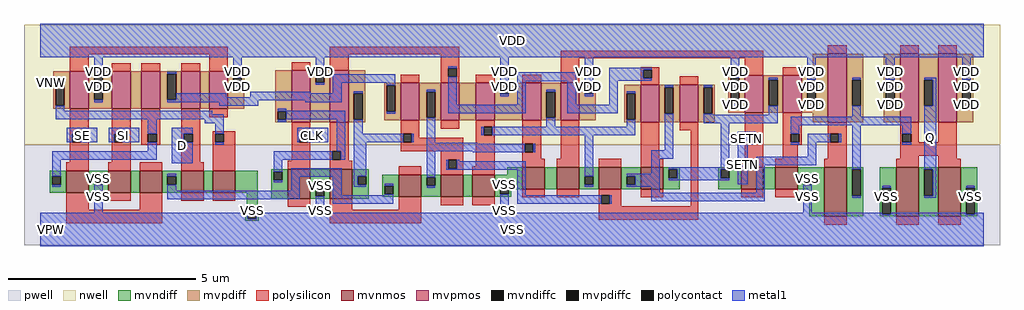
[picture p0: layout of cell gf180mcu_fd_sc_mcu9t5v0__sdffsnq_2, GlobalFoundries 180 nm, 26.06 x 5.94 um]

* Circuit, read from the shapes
.subckt gf180mcu_fd_sc_mcu9t5v0__sdffsnq_2 D SE SETN SI CLK Q VDD VNW VPW VSS
XM1 VSS SE n1 VPW nfet_06v0 w=0.59u l=0.6u
XM2 n2 SI VSS VPW nfet_06v0 w=0.59u l=0.6u
XM3 n3 SE n2 VPW nfet_06v0 w=0.59u l=0.6u
XM4 n4 D n3 VPW nfet_06v0 w=0.59u l=0.6u
XM5 VSS n1 n4 VPW nfet_06v0 w=0.59u l=0.6u
XM6 VSS CLK n5 VPW nfet_06v0 w=0.79u l=0.6u
XM7 n6 n5 VSS VPW nfet_06v0 w=0.79u l=0.6u
XM8 n7 n5 n3 VPW nfet_06v0 w=0.59u l=0.6u
XM9 n8 n6 n7 VPW nfet_06v0 w=0.59u l=0.6u
XM10 VSS n9 n8 VPW nfet_06v0 w=0.59u l=0.6u
XM11 n10 n7 VSS VPW nfet_06v0 w=0.59u l=0.6u
XM12 n9 SETN n10 VPW nfet_06v0 w=0.59u l=0.6u
XM13 n11 n6 n9 VPW nfet_06v0 w=0.59u l=0.6u
XM14 n12 n5 n11 VPW nfet_06v0 w=0.59u l=0.6u
XM15 n13 SETN n12 VPW nfet_06v0 w=0.59u l=0.6u
XM16 VSS n14 n13 VPW nfet_06v0 w=0.59u l=0.6u
XM17 n14 n11 VSS VPW nfet_06v0 w=1.32u l=0.6u
XM18 Q n14 VSS VPW nfet_06v0 w=1.32u l=0.6u m=2
XM19 VDD SE n1 VNW pfet_06v0 w=1u l=0.5u
XM20 n15 SI VDD VNW pfet_06v0 w=1u l=0.5u
XM21 n16 n1 n15 VNW pfet_06v0 w=1u l=0.5u
XM22 n17 D n16 VNW pfet_06v0 w=1u l=0.5u
XM23 VDD SE n17 VNW pfet_06v0 w=1u l=0.5u
XM24 VDD CLK n5 VNW pfet_06v0 w=1.38u l=0.5u
XM25 n6 n5 VDD VNW pfet_06v0 w=1.38u l=0.5u
XM26 n7 n6 n16 VNW pfet_06v0 w=1u l=0.5u
XM27 n18 n5 n7 VNW pfet_06v0 w=1u l=0.5u
XM28 VDD n9 n18 VNW pfet_06v0 w=1u l=0.5u
XM29 n9 n7 VDD VNW pfet_06v0 w=1u l=0.5u
XM30 VDD SETN n9 VNW pfet_06v0 w=1u l=0.5u
XM31 n11 n5 n9 VNW pfet_06v0 w=1u l=0.5u
XM32 n12 n6 n11 VNW pfet_06v0 w=1u l=0.5u
XM33 n12 SETN VDD VNW pfet_06v0 w=1u l=0.5u
XM34 VDD n14 n12 VNW pfet_06v0 w=1u l=0.5u
XM35 n14 n11 VDD VNW pfet_06v0 w=1.83u l=0.5u
XM36 Q n14 VDD VNW pfet_06v0 w=1.83u l=0.5u m=2
.ends

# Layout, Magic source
magic
tech gf180mcuD
magscale 1 10
<< nwell >>
rect -86 453 5126 1094
<< pwell >>
rect -86 -86 5126 453
<< mvnmos >>
rect 139 196 259 314
rect 363 196 483 314
rect 531 196 651 314
rect 755 196 875 314
rect 923 196 1043 314
rect 1323 164 1443 322
rect 1547 164 1667 322
rect 1915 174 2035 292
rect 2139 174 2259 292
rect 2307 174 2427 292
rect 2575 215 2695 333
rect 2759 215 2879 333
rect 2983 215 3103 333
rect 3207 215 3327 333
rect 3743 215 3863 333
rect 3927 215 4047 333
rect 4187 69 4307 333
rect 4572 69 4692 333
rect 4796 69 4916 333
<< mvpmos >>
rect 159 644 259 844
rect 383 644 483 844
rect 541 644 641 844
rect 755 644 855 844
rect 903 644 1003 844
rect 1343 573 1443 849
rect 1547 573 1647 849
rect 1925 582 2025 782
rect 2139 582 2239 782
rect 2327 582 2427 782
rect 2575 582 2675 782
rect 2779 582 2879 782
rect 3207 573 3307 773
rect 3415 573 3515 773
rect 3763 623 3863 823
rect 3967 623 4067 823
rect 4207 573 4307 939
rect 4592 573 4692 939
rect 4796 573 4896 939
<< mvndiff >>
rect 51 285 139 314
rect 51 239 64 285
rect 110 239 139 285
rect 51 196 139 239
rect 259 285 363 314
rect 259 239 288 285
rect 334 239 363 285
rect 259 196 363 239
rect 483 196 531 314
rect 651 285 755 314
rect 651 239 680 285
rect 726 239 755 285
rect 651 196 755 239
rect 875 196 923 314
rect 1043 196 1163 314
rect 1103 116 1163 196
rect 1235 309 1323 322
rect 1235 263 1248 309
rect 1294 263 1323 309
rect 1235 164 1323 263
rect 1443 223 1547 322
rect 1443 177 1472 223
rect 1518 177 1547 223
rect 1443 164 1547 177
rect 1667 285 1755 322
rect 2495 292 2575 333
rect 1667 239 1696 285
rect 1742 239 1755 285
rect 1667 164 1755 239
rect 1827 233 1915 292
rect 1827 187 1840 233
rect 1886 187 1915 233
rect 1827 174 1915 187
rect 2035 279 2139 292
rect 2035 233 2064 279
rect 2110 233 2139 279
rect 2035 174 2139 233
rect 2259 174 2307 292
rect 2427 233 2575 292
rect 2427 187 2456 233
rect 2502 215 2575 233
rect 2695 215 2759 333
rect 2879 285 2983 333
rect 2879 239 2908 285
rect 2954 239 2983 285
rect 2879 215 2983 239
rect 3103 285 3207 333
rect 3103 239 3132 285
rect 3178 239 3207 285
rect 3103 215 3207 239
rect 3327 320 3415 333
rect 3327 274 3356 320
rect 3402 274 3415 320
rect 3327 215 3415 274
rect 2502 187 2515 215
rect 2427 174 2515 187
rect 1096 114 1163 116
rect 1096 104 1168 114
rect 1096 58 1109 104
rect 1155 58 1168 104
rect 1096 45 1168 58
rect 3621 320 3743 333
rect 3621 274 3634 320
rect 3680 274 3743 320
rect 3621 215 3743 274
rect 3863 215 3927 333
rect 4047 285 4187 333
rect 4047 239 4076 285
rect 4122 239 4187 285
rect 4047 215 4187 239
rect 4107 69 4187 215
rect 4307 320 4395 333
rect 4307 180 4336 320
rect 4382 180 4395 320
rect 4307 69 4395 180
rect 4484 222 4572 333
rect 4484 82 4497 222
rect 4543 82 4572 222
rect 4484 69 4572 82
rect 4692 320 4796 333
rect 4692 180 4721 320
rect 4767 180 4796 320
rect 4692 69 4796 180
rect 4916 222 5004 333
rect 4916 82 4945 222
rect 4991 82 5004 222
rect 4916 69 5004 82
<< mvpdiff >>
rect 71 799 159 844
rect 71 659 84 799
rect 130 659 159 799
rect 71 644 159 659
rect 259 831 383 844
rect 259 691 288 831
rect 334 691 383 831
rect 259 644 383 691
rect 483 644 541 844
rect 641 831 755 844
rect 641 691 680 831
rect 726 691 755 831
rect 641 644 755 691
rect 855 644 903 844
rect 1003 809 1091 844
rect 1003 763 1032 809
rect 1078 763 1091 809
rect 1003 644 1091 763
rect 1255 632 1343 849
rect 1255 586 1268 632
rect 1314 586 1343 632
rect 1255 573 1343 586
rect 1443 829 1547 849
rect 1443 783 1472 829
rect 1518 783 1547 829
rect 1443 573 1547 783
rect 1647 726 1735 849
rect 4127 823 4207 939
rect 1647 586 1676 726
rect 1722 586 1735 726
rect 1647 573 1735 586
rect 1837 769 1925 782
rect 1837 629 1850 769
rect 1896 629 1925 769
rect 1837 582 1925 629
rect 2025 735 2139 782
rect 2025 595 2064 735
rect 2110 595 2139 735
rect 2025 582 2139 595
rect 2239 582 2327 782
rect 2427 769 2575 782
rect 2427 723 2456 769
rect 2502 723 2575 769
rect 2427 582 2575 723
rect 2675 735 2779 782
rect 2675 595 2704 735
rect 2750 595 2779 735
rect 2675 582 2779 595
rect 2879 769 2967 782
rect 3675 810 3763 823
rect 2879 723 2908 769
rect 2954 723 2967 769
rect 2879 582 2967 723
rect 3119 726 3207 773
rect 3119 586 3132 726
rect 3178 586 3207 726
rect 3119 573 3207 586
rect 3307 758 3415 773
rect 3307 618 3336 758
rect 3382 618 3415 758
rect 3307 573 3415 618
rect 3515 758 3603 773
rect 3515 618 3544 758
rect 3590 618 3603 758
rect 3675 670 3688 810
rect 3734 670 3763 810
rect 3675 623 3763 670
rect 3863 799 3967 823
rect 3863 659 3892 799
rect 3938 659 3967 799
rect 3863 623 3967 659
rect 4067 799 4207 823
rect 4067 659 4096 799
rect 4142 659 4207 799
rect 4067 623 4207 659
rect 3515 573 3603 618
rect 4127 573 4207 623
rect 4307 799 4395 939
rect 4307 659 4336 799
rect 4382 659 4395 799
rect 4307 573 4395 659
rect 4504 799 4592 939
rect 4504 659 4517 799
rect 4563 659 4592 799
rect 4504 573 4592 659
rect 4692 799 4796 939
rect 4692 659 4721 799
rect 4767 659 4796 799
rect 4692 573 4796 659
rect 4896 799 4984 939
rect 4896 659 4925 799
rect 4971 659 4984 799
rect 4896 573 4984 659
<< mvndiffc >>
rect 64 239 110 285
rect 288 239 334 285
rect 680 239 726 285
rect 1248 263 1294 309
rect 1472 177 1518 223
rect 1696 239 1742 285
rect 1840 187 1886 233
rect 2064 233 2110 279
rect 2456 187 2502 233
rect 2908 239 2954 285
rect 3132 239 3178 285
rect 3356 274 3402 320
rect 1109 58 1155 104
rect 3634 274 3680 320
rect 4076 239 4122 285
rect 4336 180 4382 320
rect 4497 82 4543 222
rect 4721 180 4767 320
rect 4945 82 4991 222
<< mvpdiffc >>
rect 84 659 130 799
rect 288 691 334 831
rect 680 691 726 831
rect 1032 763 1078 809
rect 1268 586 1314 632
rect 1472 783 1518 829
rect 1676 586 1722 726
rect 1850 629 1896 769
rect 2064 595 2110 735
rect 2456 723 2502 769
rect 2704 595 2750 735
rect 2908 723 2954 769
rect 3132 586 3178 726
rect 3336 618 3382 758
rect 3544 618 3590 758
rect 3688 670 3734 810
rect 3892 659 3938 799
rect 4096 659 4142 799
rect 4336 659 4382 799
rect 4517 659 4563 799
rect 4721 659 4767 799
rect 4925 659 4971 799
<< polysilicon >>
rect 159 936 1003 976
rect 159 844 259 936
rect 383 844 483 888
rect 541 844 641 888
rect 755 844 855 888
rect 903 844 1003 936
rect 1547 936 2239 976
rect 1343 849 1443 893
rect 1547 849 1647 936
rect 2139 861 2239 936
rect 159 510 259 644
rect 159 464 172 510
rect 218 464 259 510
rect 159 358 259 464
rect 383 510 483 644
rect 383 464 396 510
rect 442 464 483 510
rect 383 358 483 464
rect 541 510 641 644
rect 541 464 576 510
rect 622 464 641 510
rect 541 451 641 464
rect 755 510 855 644
rect 903 600 1003 644
rect 1925 782 2025 826
rect 2139 815 2180 861
rect 2226 815 2239 861
rect 2779 913 3863 953
rect 4207 939 4307 983
rect 4592 939 4692 983
rect 4796 939 4896 983
rect 2139 782 2239 815
rect 2327 782 2427 826
rect 2575 782 2675 826
rect 2779 782 2879 913
rect 3207 852 3307 865
rect 3207 806 3220 852
rect 3266 806 3307 852
rect 3763 823 3863 913
rect 3967 823 4067 867
rect 3207 773 3307 806
rect 3415 773 3515 817
rect 755 464 768 510
rect 814 464 855 510
rect 755 358 855 464
rect 923 510 1043 523
rect 923 464 936 510
rect 982 464 1043 510
rect 139 314 259 358
rect 363 314 483 358
rect 531 314 651 358
rect 755 314 875 358
rect 923 314 1043 464
rect 1343 510 1443 573
rect 1343 464 1384 510
rect 1430 464 1443 510
rect 1343 366 1443 464
rect 1323 322 1443 366
rect 1547 418 1647 573
rect 1925 510 2025 582
rect 2139 538 2239 582
rect 2327 549 2427 582
rect 1925 464 1938 510
rect 1984 490 2025 510
rect 2327 503 2368 549
rect 2414 503 2427 549
rect 1984 464 2259 490
rect 1925 418 2259 464
rect 1547 372 1560 418
rect 1606 372 1647 418
rect 1547 366 1647 372
rect 2139 371 2259 418
rect 1547 322 1667 366
rect 139 104 259 196
rect 363 152 483 196
rect 531 104 651 196
rect 755 152 875 196
rect 923 152 1043 196
rect 1915 292 2035 336
rect 2139 325 2180 371
rect 2226 325 2259 371
rect 2327 336 2427 503
rect 2139 292 2259 325
rect 2307 292 2427 336
rect 2575 457 2675 582
rect 2575 411 2588 457
rect 2634 411 2675 457
rect 2575 377 2675 411
rect 2779 377 2879 582
rect 3207 377 3307 573
rect 3415 529 3515 573
rect 2575 333 2695 377
rect 2759 333 2879 377
rect 2983 333 3103 377
rect 3207 333 3327 377
rect 1323 120 1443 164
rect 139 32 651 104
rect 1547 104 1667 164
rect 1915 104 2035 174
rect 2139 130 2259 174
rect 2307 130 2427 174
rect 2575 171 2695 215
rect 2759 171 2879 215
rect 2983 182 3103 215
rect 2983 136 2996 182
rect 3042 136 3103 182
rect 3207 171 3327 215
rect 1547 32 2035 104
rect 2983 123 3103 136
rect 3475 123 3515 529
rect 3763 510 3863 623
rect 3763 464 3776 510
rect 3822 464 3863 510
rect 3763 377 3863 464
rect 3967 510 4067 623
rect 3967 464 4008 510
rect 4054 464 4067 510
rect 3967 451 4067 464
rect 4207 510 4307 573
rect 4207 464 4220 510
rect 4266 464 4307 510
rect 3967 377 4047 451
rect 4207 377 4307 464
rect 4592 510 4692 573
rect 4592 464 4605 510
rect 4651 465 4692 510
rect 4796 465 4896 573
rect 4651 464 4896 465
rect 4592 393 4896 464
rect 4592 377 4692 393
rect 3743 333 3863 377
rect 3927 333 4047 377
rect 4187 333 4307 377
rect 4572 333 4692 377
rect 4796 377 4896 393
rect 4796 333 4916 377
rect 3743 171 3863 215
rect 3927 171 4047 215
rect 2983 51 3515 123
rect 4187 25 4307 69
rect 4572 25 4692 69
rect 4796 25 4916 69
<< polycontact >>
rect 172 464 218 510
rect 396 464 442 510
rect 576 464 622 510
rect 2180 815 2226 861
rect 3220 806 3266 852
rect 768 464 814 510
rect 936 464 982 510
rect 1384 464 1430 510
rect 1938 464 1984 510
rect 2368 503 2414 549
rect 1560 372 1606 418
rect 2180 325 2226 371
rect 2588 411 2634 457
rect 2996 136 3042 182
rect 3776 464 3822 510
rect 4008 464 4054 510
rect 4220 464 4266 510
rect 4605 464 4651 510
<< metal1 >>
rect 0 918 5040 1098
rect 288 831 334 918
rect 84 799 130 810
rect 288 680 334 691
rect 680 831 726 842
rect 1032 809 1078 918
rect 1472 829 1518 918
rect 2180 861 2226 872
rect 1472 772 1518 783
rect 1564 783 1896 829
rect 1032 752 1078 763
rect 1121 726 1444 735
rect 1564 726 1610 783
rect 1850 769 1896 783
rect 726 706 994 726
rect 1121 706 1610 726
rect 726 691 1610 706
rect 680 689 1610 691
rect 680 680 1164 689
rect 1416 680 1610 689
rect 1676 726 1722 737
rect 956 660 1164 680
rect 84 634 130 659
rect 1268 634 1314 643
rect 84 614 918 634
rect 1268 632 1630 634
rect 84 588 982 614
rect 142 510 306 542
rect 142 464 172 510
rect 218 464 306 510
rect 366 510 530 542
rect 366 464 396 510
rect 442 464 530 510
rect 576 510 622 588
rect 880 568 982 588
rect 1314 588 1630 632
rect 1268 575 1314 586
rect 576 418 622 464
rect 64 372 622 418
rect 702 510 814 542
rect 702 464 768 510
rect 64 285 110 372
rect 702 354 814 464
rect 936 510 982 568
rect 1373 510 1538 542
rect 1373 464 1384 510
rect 1430 464 1538 510
rect 936 453 982 464
rect 1584 418 1630 588
rect 1248 372 1560 418
rect 1606 372 1630 418
rect 1850 618 1896 629
rect 2064 735 2110 746
rect 1676 510 1722 586
rect 2180 666 2226 815
rect 2456 769 2502 918
rect 2456 712 2502 723
rect 2548 792 2862 838
rect 2548 666 2594 792
rect 2180 620 2594 666
rect 2704 735 2750 746
rect 1676 464 1938 510
rect 1984 464 1995 510
rect 1248 309 1294 372
rect 64 228 110 239
rect 288 285 334 296
rect 288 90 334 239
rect 680 285 726 296
rect 1248 252 1294 263
rect 1340 280 1610 326
rect 680 207 726 239
rect 680 206 1238 207
rect 1340 206 1386 280
rect 680 161 1386 206
rect 1228 160 1386 161
rect 1472 223 1518 234
rect 1109 104 1155 115
rect 0 58 1109 90
rect 1472 90 1518 177
rect 1564 182 1610 280
rect 1676 285 1742 464
rect 1676 239 1696 285
rect 2064 463 2110 595
rect 2816 666 2862 792
rect 2908 769 2954 918
rect 2908 712 2954 723
rect 3040 852 3266 863
rect 3040 806 3220 852
rect 3040 795 3266 806
rect 3688 810 3734 918
rect 3040 666 3086 795
rect 3336 758 3382 769
rect 2816 620 3086 666
rect 3132 726 3178 737
rect 2704 549 2750 595
rect 3132 549 3178 586
rect 2357 503 2368 549
rect 2414 503 3178 549
rect 2064 457 2334 463
rect 2064 417 2588 457
rect 2064 279 2110 417
rect 2311 411 2588 417
rect 2634 411 2645 457
rect 2169 325 2180 371
rect 2226 365 2237 371
rect 2226 325 2594 365
rect 2169 319 2594 325
rect 1676 228 1742 239
rect 1840 233 1886 244
rect 2064 222 2110 233
rect 2456 233 2502 244
rect 1840 182 1886 187
rect 1564 136 1886 182
rect 2456 90 2502 187
rect 2548 182 2594 319
rect 2908 285 2954 503
rect 3336 423 3382 618
rect 3544 758 3590 769
rect 3688 659 3734 670
rect 3892 799 3938 810
rect 3544 613 3590 618
rect 3892 613 3938 659
rect 4096 799 4142 918
rect 4096 648 4142 659
rect 4336 799 4382 810
rect 3544 567 3938 613
rect 4336 602 4382 659
rect 4517 799 4563 918
rect 4517 648 4563 659
rect 4721 799 4786 810
rect 4767 659 4786 799
rect 3264 377 3382 423
rect 3264 296 3310 377
rect 3634 331 3680 567
rect 4008 556 4651 602
rect 2908 228 2954 239
rect 3132 285 3310 296
rect 3178 239 3310 285
rect 3356 320 3680 331
rect 3402 274 3634 320
rect 3356 263 3680 274
rect 3726 510 3822 521
rect 3726 464 3776 510
rect 3726 453 3822 464
rect 4008 510 4054 556
rect 4008 453 4054 464
rect 4100 464 4220 510
rect 4266 464 4277 510
rect 3726 242 3778 453
rect 4100 388 4146 464
rect 3824 342 4146 388
rect 3132 228 3310 239
rect 3264 196 3310 228
rect 3824 196 3870 342
rect 4336 320 4382 556
rect 4605 510 4651 556
rect 4605 453 4651 464
rect 2548 136 2996 182
rect 3042 136 3053 182
rect 3264 150 3870 196
rect 4076 285 4122 296
rect 4076 90 4122 239
rect 4721 320 4786 659
rect 4925 799 4971 918
rect 4925 648 4971 659
rect 4336 169 4382 180
rect 4497 222 4543 233
rect 1155 82 4497 90
rect 4767 180 4786 320
rect 4721 169 4786 180
rect 4945 222 4991 233
rect 4543 82 4945 90
rect 4991 82 5040 90
rect 1155 58 5040 82
rect 0 -90 5040 58
<< labels >>
flabel metal1 s 1373 464 1538 542 0 FreeSans 200 0 0 0 CLK
port 5 nsew clock input
flabel metal1 s 702 354 814 542 0 FreeSans 200 0 0 0 D
port 1 nsew default input
flabel metal1 s 4721 169 4786 810 0 FreeSans 200 0 0 0 Q
port 6 nsew default output
flabel metal1 s 142 464 306 542 0 FreeSans 200 0 0 0 SE
port 2 nsew default input
flabel metal1 s 3726 453 3822 521 0 FreeSans 200 0 0 0 SETN
port 3 nsew default input
flabel metal1 s 366 464 530 542 0 FreeSans 200 0 0 0 SI
port 4 nsew default input
flabel metal1 s 0 918 5040 1098 0 FreeSans 200 0 0 0 VDD
port 7 nsew power bidirectional abutment
flabel metal1 s 4076 244 4122 296 0 FreeSans 200 0 0 0 VSS
port 10 nsew ground bidirectional abutment
flabel nwell s 10 734 110 834 0 FreeSans 400 0 0 0 VNW
port 8 nsew power bidirectional
flabel pwell s 10 -50 110 50 0 FreeSans 400 0 0 0 VPW
port 9 nsew ground bidirectional
rlabel metal1 s 3726 242 3778 453 1 SETN
port 3 nsew default input
rlabel metal1 s 4925 772 4971 918 1 VDD
port 7 nsew power bidirectional abutment
rlabel metal1 s 4517 772 4563 918 1 VDD
port 7 nsew power bidirectional abutment
rlabel metal1 s 4096 772 4142 918 1 VDD
port 7 nsew power bidirectional abutment
rlabel metal1 s 3688 772 3734 918 1 VDD
port 7 nsew power bidirectional abutment
rlabel metal1 s 2908 772 2954 918 1 VDD
port 7 nsew power bidirectional abutment
rlabel metal1 s 2456 772 2502 918 1 VDD
port 7 nsew power bidirectional abutment
rlabel metal1 s 1472 772 1518 918 1 VDD
port 7 nsew power bidirectional abutment
rlabel metal1 s 1032 772 1078 918 1 VDD
port 7 nsew power bidirectional abutment
rlabel metal1 s 288 772 334 918 1 VDD
port 7 nsew power bidirectional abutment
rlabel metal1 s 4925 752 4971 772 1 VDD
port 7 nsew power bidirectional abutment
rlabel metal1 s 4517 752 4563 772 1 VDD
port 7 nsew power bidirectional abutment
rlabel metal1 s 4096 752 4142 772 1 VDD
port 7 nsew power bidirectional abutment
rlabel metal1 s 3688 752 3734 772 1 VDD
port 7 nsew power bidirectional abutment
rlabel metal1 s 2908 752 2954 772 1 VDD
port 7 nsew power bidirectional abutment
rlabel metal1 s 2456 752 2502 772 1 VDD
port 7 nsew power bidirectional abutment
rlabel metal1 s 1032 752 1078 772 1 VDD
port 7 nsew power bidirectional abutment
rlabel metal1 s 288 752 334 772 1 VDD
port 7 nsew power bidirectional abutment
rlabel metal1 s 4925 712 4971 752 1 VDD
port 7 nsew power bidirectional abutment
rlabel metal1 s 4517 712 4563 752 1 VDD
port 7 nsew power bidirectional abutment
rlabel metal1 s 4096 712 4142 752 1 VDD
port 7 nsew power bidirectional abutment
rlabel metal1 s 3688 712 3734 752 1 VDD
port 7 nsew power bidirectional abutment
rlabel metal1 s 2908 712 2954 752 1 VDD
port 7 nsew power bidirectional abutment
rlabel metal1 s 2456 712 2502 752 1 VDD
port 7 nsew power bidirectional abutment
rlabel metal1 s 288 712 334 752 1 VDD
port 7 nsew power bidirectional abutment
rlabel metal1 s 4925 680 4971 712 1 VDD
port 7 nsew power bidirectional abutment
rlabel metal1 s 4517 680 4563 712 1 VDD
port 7 nsew power bidirectional abutment
rlabel metal1 s 4096 680 4142 712 1 VDD
port 7 nsew power bidirectional abutment
rlabel metal1 s 3688 680 3734 712 1 VDD
port 7 nsew power bidirectional abutment
rlabel metal1 s 288 680 334 712 1 VDD
port 7 nsew power bidirectional abutment
rlabel metal1 s 4925 659 4971 680 1 VDD
port 7 nsew power bidirectional abutment
rlabel metal1 s 4517 659 4563 680 1 VDD
port 7 nsew power bidirectional abutment
rlabel metal1 s 4096 659 4142 680 1 VDD
port 7 nsew power bidirectional abutment
rlabel metal1 s 3688 659 3734 680 1 VDD
port 7 nsew power bidirectional abutment
rlabel metal1 s 4925 648 4971 659 1 VDD
port 7 nsew power bidirectional abutment
rlabel metal1 s 4517 648 4563 659 1 VDD
port 7 nsew power bidirectional abutment
rlabel metal1 s 4096 648 4142 659 1 VDD
port 7 nsew power bidirectional abutment
rlabel metal1 s 288 244 334 296 1 VSS
port 10 nsew ground bidirectional abutment
rlabel metal1 s 4076 234 4122 244 1 VSS
port 10 nsew ground bidirectional abutment
rlabel metal1 s 2456 234 2502 244 1 VSS
port 10 nsew ground bidirectional abutment
rlabel metal1 s 288 234 334 244 1 VSS
port 10 nsew ground bidirectional abutment
rlabel metal1 s 4076 233 4122 234 1 VSS
port 10 nsew ground bidirectional abutment
rlabel metal1 s 2456 233 2502 234 1 VSS
port 10 nsew ground bidirectional abutment
rlabel metal1 s 1472 233 1518 234 1 VSS
port 10 nsew ground bidirectional abutment
rlabel metal1 s 288 233 334 234 1 VSS
port 10 nsew ground bidirectional abutment
rlabel metal1 s 4945 115 4991 233 1 VSS
port 10 nsew ground bidirectional abutment
rlabel metal1 s 4497 115 4543 233 1 VSS
port 10 nsew ground bidirectional abutment
rlabel metal1 s 4076 115 4122 233 1 VSS
port 10 nsew ground bidirectional abutment
rlabel metal1 s 2456 115 2502 233 1 VSS
port 10 nsew ground bidirectional abutment
rlabel metal1 s 1472 115 1518 233 1 VSS
port 10 nsew ground bidirectional abutment
rlabel metal1 s 288 115 334 233 1 VSS
port 10 nsew ground bidirectional abutment
rlabel metal1 s 4945 90 4991 115 1 VSS
port 10 nsew ground bidirectional abutment
rlabel metal1 s 4497 90 4543 115 1 VSS
port 10 nsew ground bidirectional abutment
rlabel metal1 s 4076 90 4122 115 1 VSS
port 10 nsew ground bidirectional abutment
rlabel metal1 s 2456 90 2502 115 1 VSS
port 10 nsew ground bidirectional abutment
rlabel metal1 s 1472 90 1518 115 1 VSS
port 10 nsew ground bidirectional abutment
rlabel metal1 s 1109 90 1155 115 1 VSS
port 10 nsew ground bidirectional abutment
rlabel metal1 s 288 90 334 115 1 VSS
port 10 nsew ground bidirectional abutment
rlabel metal1 s 0 -90 5040 90 1 VSS
port 10 nsew ground bidirectional abutment
<< properties >>
string FIXED_BBOX 0 0 5040 1008
string GDS_END 428720
string GDS_FILE $PDKPATH/libs.ref/gf180mcu_fd_sc_mcu9t5v0/gds/gf180mcu_fd_sc_mcu9t5v0.gds
string GDS_START 416830
string LEFclass core
string LEFsite GF018hv5v_green_sc9
string LEFsymmetry X Y
<< end >>
